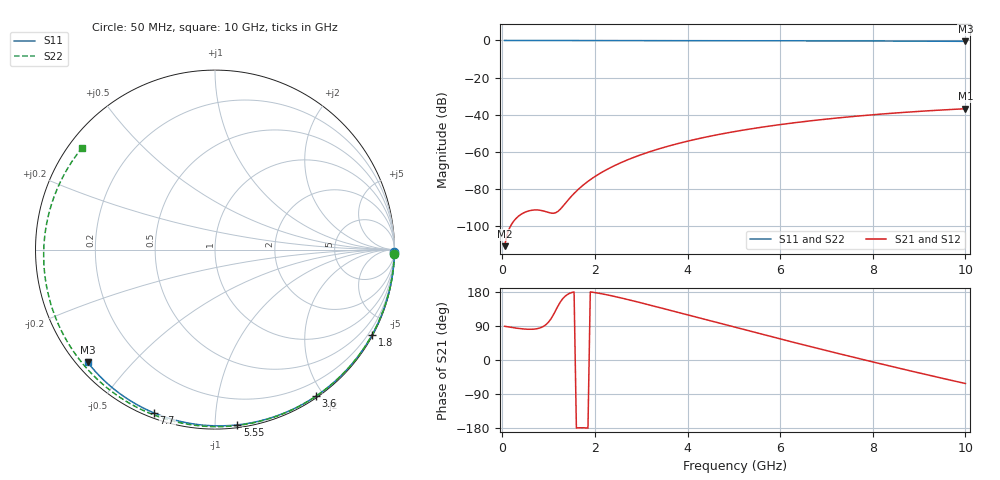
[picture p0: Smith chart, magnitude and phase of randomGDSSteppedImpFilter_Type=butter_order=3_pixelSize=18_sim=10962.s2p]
! freq	dB(S11)	phase(S11)	dB(S12)	phase(S12)
!  dB(S21)	phase(S21)	dB(S22)	phase(S22)
!S-par simulation data
#  GHz  S  DB  R 50
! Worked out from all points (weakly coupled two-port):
!   200 points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, 50 MHz to 10 GHz, reference 50 ohm
!   highest |S21| = -36.74 dB at 10 GHz (marker M1); lowest = -110.7 dB at 50 MHz (marker M2)
!   lowest |S11| = -0.5 dB at 10 GHz (marker M3), VSWR 37.07, Z = 1.54 - j19 ohm
!   |S11| at or under -10 dB: nowhere
!   |S22| runs from -0.6 to 0.0 dB; largest |S21 - S12| = 0
!   S11 on the Smith chart (normalised r, x): 50 MHz: open; 1.8 GHz: 0.03, -3.95; 3.6 GHz: 0.02, -1.90; 5.55 GHz: 0.02, -1.14; 7.7 GHz: 0.02, -0.69; 10 GHz: 0.03, -0.38
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0.05  -0.00 -0.8  -110.66 89.0  -110.66 89.0  -0.00 -1.3
0.4  -0.01 -6.4  -93.60 82.6  -93.60 82.6  -0.01 -10.5
0.8  -0.02 -12.7  -91.28 84.1  -91.28 84.1  -0.03 -20.9
1.6  -0.03 -25.3  -81.05 -179.4  -81.05 -179.4  -0.05 -41.3
1.65  -0.03 -26.1  -79.88 -178.9  -79.88 -178.9  -0.05 -42.6
1.75  -0.04 -27.6  -77.73 -178.8  -77.73 -178.8  -0.06 -45.0
1.8  -0.04 -28.4  -76.74 -179.2  -76.74 -179.2  -0.06 -46.3
2.1  -0.04 -33.0  -71.65 175.9  -71.65 175.9  -0.07 -53.6
2.5  -0.05 -39.1  -66.44 165.6  -66.44 165.6  -0.08 -63.2
2.9  -0.06 -45.1  -62.32 153.8  -62.32 153.8  -0.09 -72.6
3.4  -0.07 -52.5  -58.17 138.2  -58.17 138.2  -0.11 -83.9
3.6  -0.07 -55.5  -56.74 131.8  -56.74 131.8  -0.12 -88.4
4.3  -0.09 -65.5  -52.48 109.4  -52.48 109.4  -0.14 -103.4
5.05  -0.12 -76.0  -48.86 85.4  -48.86 85.4  -0.18 -118.8
5.55  -0.14 -82.7  -46.85 69.6  -46.85 69.6  -0.20 -128.8
6.15  -0.16 -90.7  -44.77 50.9  -44.77 50.9  -0.24 -140.5
6.7  -0.19 -97.8  -43.11 34.0  -43.11 34.0  -0.28 -151.1
7.2  -0.22 -104.2  -41.79 18.8  -41.79 18.8  -0.32 -160.7
7.7  -0.25 -110.5  -40.61 3.8  -40.61 3.8  -0.36 -170.4
8.35  -0.30 -118.5  -39.28 -15.3  -39.28 -15.3  -0.42 176.9
9.2  -0.38 -128.8  -37.83 -39.8  -37.83 -39.8  -0.51 159.8
10  -0.47 -138.5  -36.74 -62.1  -36.74 -62.1  -0.60 142.8
